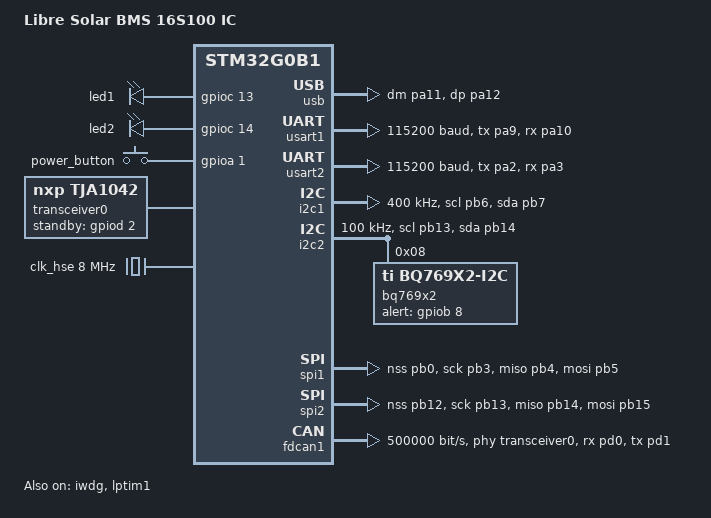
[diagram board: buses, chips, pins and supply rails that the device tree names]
/*
 * Copyright (c) The Libre Solar Project Contributors
 *
 * SPDX-License-Identifier: Apache-2.0
 */

/dts-v1/;
#include <st/g0/stm32g0b1Xe.dtsi>
#include <st/g0/stm32g0b1c(b-c-e)tx-pinctrl.dtsi>

/ {
	model = "Libre Solar BMS 16S100 IC";
	compatible = "st,stm32g0b1";

	pcb {
		compatible = "bms";

		type = "BMS 16S100 SC";
		version-str = "v0.2";
		version-num = <2>;

		num-cells-max = <16>;
		num-thermistors-max = <2>;

		current-max = <100>;
		shunt-res = <500>;
	};

	chosen {
		zephyr,console = &usart1;
		zephyr,shell-uart = &usart1;
		zephyr,sram = &sram0;
		zephyr,flash = &flash0;
		zephyr,code-partition = &slot0_partition;
		thingset,can = &fdcan1;
		thingset,serial = &usart2;
	};

	leds {
		compatible = "gpio-leds";
		led1: led_0 {
			//gpios = <&gpioa 5 GPIO_ACTIVE_HIGH>;	// Nucleo board
			gpios = <&gpioc 13 GPIO_ACTIVE_HIGH>;	// actual BMS board
		};
		led2: led_1 {
			gpios = <&gpioc 14 GPIO_ACTIVE_HIGH>;
		};
	};

	gpio_keys {
		compatible = "gpio-keys";
		power_button: button {
			gpios = <&gpioa 1 GPIO_ACTIVE_HIGH>;
		};
	};

	transceiver0: can-phy0 {
		compatible = "nxp,tja1042", "can-transceiver-gpio";
		max-bitrate = <1000000>;
		standby-gpios = <&gpiod 2 GPIO_ACTIVE_HIGH>;
		#phy-cells = <0>;
	};

	aliases {
		led-red = &led1;
		led-green = &led2;
		uart-dbg = &usart1;
		uart-uext = &usart2;
		i2c-uext = &i2c1;
		sw-pwr = &power_button;
	};
};

&clk_hse {
	clock-frequency = <DT_FREQ_M(8)>;
	status = "okay";
};

&pll {
	div-m = <1>;
	mul-n = <16>;
	div-p = <2>;
	div-q = <2>;
	div-r = <2>;
	clocks = <&clk_hse>;
	status = "okay";
};

&rcc {
	clocks = <&pll>;
	clock-frequency = <DT_FREQ_M(64)>;
	ahb-prescaler = <1>;
	apb1-prescaler = <1>;
};

zephyr_udc0: &usb {
	pinctrl-0 = <&usb_dm_pa11 &usb_dp_pa12>;
	pinctrl-names = "default";
	status = "okay";
};

&usart1 {
	pinctrl-0 = <&usart1_tx_pa9 &usart1_rx_pa10>;
	pinctrl-names = "default";
	current-speed = <115200>;
	status = "okay";
};

&usart1_rx_pa10 {
	bias-pull-up;	// avoid junk characters if pin is left floating
};

&usart2 {
	pinctrl-0 = <&usart2_tx_pa2 &usart2_rx_pa3>;
	pinctrl-names = "default";
	current-speed = <115200>;
	status = "okay";
};

&usart2_rx_pa3 {
	bias-pull-up;	// avoid junk characters if pin is left floating
};

&iwdg {
	status = "okay";
};

&i2c1 {
	pinctrl-0 = <&i2c1_scl_pb6 &i2c1_sda_pb7>;
	pinctrl-names = "default";
	clock-frequency = <I2C_BITRATE_FAST>;
	status = "okay";
};

&i2c2 {
	pinctrl-0 = <&i2c2_scl_pb13 &i2c2_sda_pb14>;
	pinctrl-names = "default";
	clock-frequency = <I2C_BITRATE_STANDARD>;
	status = "okay";

	bq769x2@8 {
		compatible = "ti,bq769x2-i2c";
		reg = <0x08>;	/* 0x10 >> 1 */
		alert-gpios = <&gpiob 8 GPIO_ACTIVE_HIGH>;
	};
};

&spi1 {
	pinctrl-0 = <&spi1_nss_pb0 &spi1_sck_pb3
		     &spi1_miso_pb4 &spi1_mosi_pb5>;
	pinctrl-names = "default";
	status = "okay";
};

&spi2 {
	pinctrl-0 = <&spi2_nss_pb12 &spi2_sck_pb13
		     &spi2_miso_pb14 &spi2_mosi_pb15>;
	pinctrl-names = "default";
	status = "okay";
};

&flash0 {
	partitions {
		compatible = "fixed-partitions";
		#address-cells = <1>;
		#size-cells = <1>;

		boot_partition: partition@0 {
			label = "mcuboot";
			reg = <0x00000000 0x0000C000>;
			read-only;
		};
		slot0_partition: partition@C000 {
			label = "image-0";
			reg = <0x0000C000 0x00032000>;
		};
		slot1_partition: partition@3E000 {
			label = "image-1";
			reg = <0x0003E000 0x00032000>;
		};
		/* final 64KiB reserved for app storage partition */
		storage_partition: partition@70000 {
			label = "storage";
			reg = <0x00070000 0x00010000>;
		};
	};
};

&lptim1 {
	status = "okay";
};

&fdcan1 {
	clocks = <&rcc STM32_CLOCK_BUS_APB1 0x00001000>,
		 <&rcc STM32_SRC_PLL_Q FDCAN_SEL(1)>;
	pinctrl-0 = <&fdcan1_rx_pd0 &fdcan1_tx_pd1>;
	pinctrl-names = "default";
	bus-speed = <500000>;
	bus-speed-data = <500000>;
	sample-point = <875>;
	sample-point-data = <875>;
	phys = <&transceiver0>;
	status = "okay";
};
